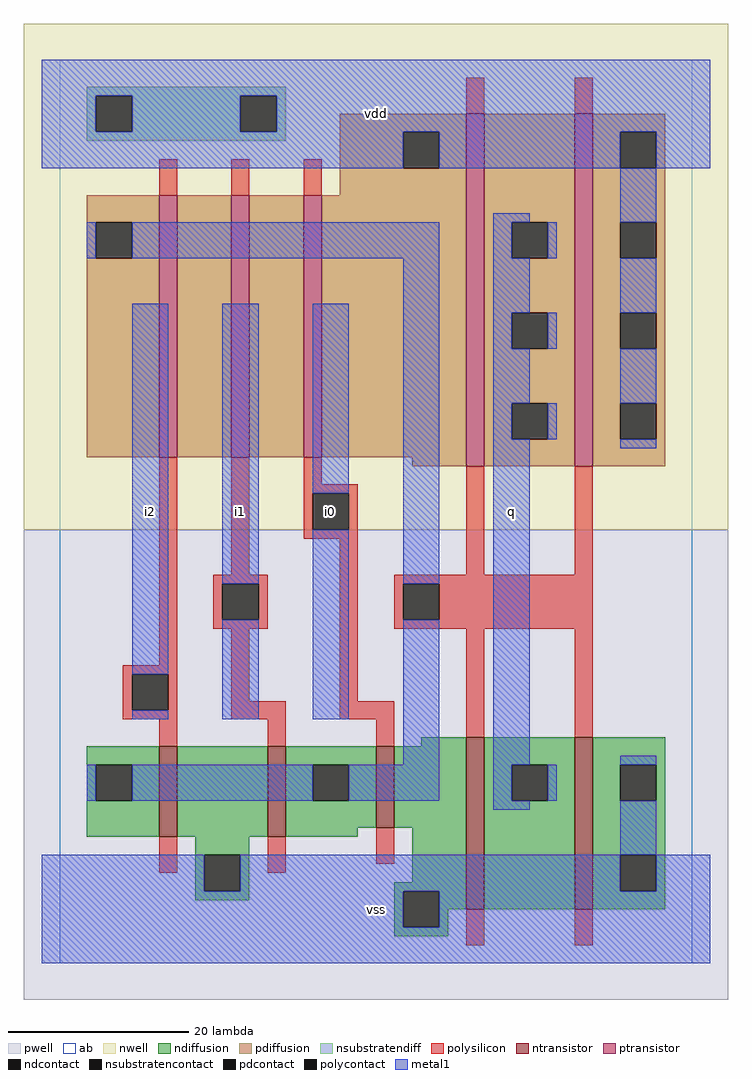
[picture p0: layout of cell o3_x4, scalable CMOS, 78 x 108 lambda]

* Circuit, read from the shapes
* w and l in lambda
.subckt o3_x4 i0 i1 i2 q vdd vss
M1 vss i2 n1 VSUBS nfet w=10 l=2
M2 n1 i1 vss VSUBS nfet w=10 l=2
M3 vss i0 n1 VSUBS nfet w=9 l=2
M4 q n1 vss VSUBS nfet w=19 l=2 m=2
M5 n2 i2 n1 vdd pfet w=29 l=2
M6 n3 i1 n2 vdd pfet w=29 l=2
M7 vdd i0 n3 vdd pfet w=29 l=2
M8 q n1 vdd vdd pfet w=39 l=2 m=2
.ends

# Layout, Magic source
magic
tech scmos
<< ab >>
rect 0 0 70 100
<< pwell >>
rect -4 -4 74 48
<< nwell >>
rect -4 48 74 104
<< polysilicon >>
rect 45 94 47 98
rect 57 94 59 98
rect 11 85 13 89
rect 19 85 21 89
rect 27 85 29 89
rect 11 33 13 56
rect 19 43 21 56
rect 27 53 29 56
rect 27 52 33 53
rect 27 48 28 52
rect 32 48 33 52
rect 27 47 33 48
rect 17 42 23 43
rect 17 38 18 42
rect 22 38 23 42
rect 17 37 23 38
rect 7 32 13 33
rect 7 28 8 32
rect 12 28 13 32
rect 7 27 13 28
rect 19 29 21 37
rect 31 29 33 47
rect 45 43 47 55
rect 57 43 59 55
rect 37 42 59 43
rect 37 38 38 42
rect 42 38 59 42
rect 37 37 59 38
rect 19 27 25 29
rect 31 27 37 29
rect 11 24 13 27
rect 23 24 25 27
rect 35 24 37 27
rect 45 25 47 37
rect 57 25 59 37
rect 11 10 13 14
rect 23 10 25 14
rect 35 11 37 15
rect 45 2 47 6
rect 57 2 59 6
<< ndiffusion >>
rect 40 24 45 25
rect 3 22 11 24
rect 3 18 4 22
rect 8 18 11 22
rect 3 14 11 18
rect 13 14 23 24
rect 25 22 35 24
rect 25 18 28 22
rect 32 18 35 22
rect 25 15 35 18
rect 37 15 45 24
rect 25 14 33 15
rect 15 12 21 14
rect 15 8 16 12
rect 20 8 21 12
rect 39 9 45 15
rect 15 7 21 8
rect 37 8 45 9
rect 37 4 38 8
rect 42 6 45 8
rect 47 22 57 25
rect 47 18 50 22
rect 54 18 57 22
rect 47 6 57 18
rect 59 22 67 25
rect 59 18 62 22
rect 66 18 67 22
rect 59 12 67 18
rect 59 8 62 12
rect 66 8 67 12
rect 59 6 67 8
rect 42 4 43 6
rect 37 3 43 4
<< pdiffusion >>
rect 31 92 45 94
rect 31 88 38 92
rect 42 88 45 92
rect 31 85 45 88
rect 3 82 11 85
rect 3 78 4 82
rect 8 78 11 82
rect 3 56 11 78
rect 13 56 19 85
rect 21 56 27 85
rect 29 56 45 85
rect 39 55 45 56
rect 47 82 57 94
rect 47 78 50 82
rect 54 78 57 82
rect 47 72 57 78
rect 47 68 50 72
rect 54 68 57 72
rect 47 62 57 68
rect 47 58 50 62
rect 54 58 57 62
rect 47 55 57 58
rect 59 92 67 94
rect 59 88 62 92
rect 66 88 67 92
rect 59 82 67 88
rect 59 78 62 82
rect 66 78 67 82
rect 59 72 67 78
rect 59 68 62 72
rect 66 68 67 72
rect 59 62 67 68
rect 59 58 62 62
rect 66 58 67 62
rect 59 55 67 58
<< metal1 >>
rect -2 96 72 100
rect -2 92 4 96
rect 8 92 20 96
rect 24 92 72 96
rect -2 88 38 92
rect 42 88 62 92
rect 66 88 72 92
rect 48 82 52 83
rect 62 82 66 88
rect 3 78 4 82
rect 8 78 42 82
rect 8 32 12 73
rect 8 27 12 28
rect 18 42 22 73
rect 18 27 22 38
rect 28 52 32 73
rect 28 27 32 48
rect 38 42 42 78
rect 38 22 42 38
rect 3 18 4 22
rect 8 18 28 22
rect 32 18 42 22
rect 48 78 50 82
rect 54 78 55 82
rect 48 72 52 78
rect 62 72 66 78
rect 48 68 50 72
rect 54 68 55 72
rect 48 62 52 68
rect 62 62 66 68
rect 48 58 50 62
rect 54 58 55 62
rect 48 22 52 58
rect 62 57 66 58
rect 62 22 66 23
rect 48 18 50 22
rect 54 18 55 22
rect 48 17 52 18
rect 62 12 66 18
rect -2 8 16 12
rect 20 8 62 12
rect 66 8 72 12
rect -2 4 38 8
rect 42 4 72 8
rect -2 0 72 4
<< ntransistor >>
rect 11 14 13 24
rect 23 14 25 24
rect 35 15 37 24
rect 45 6 47 25
rect 57 6 59 25
<< ptransistor >>
rect 11 56 13 85
rect 19 56 21 85
rect 27 56 29 85
rect 45 55 47 94
rect 57 55 59 94
<< polycontact >>
rect 28 48 32 52
rect 18 38 22 42
rect 8 28 12 32
rect 38 38 42 42
<< ndcontact >>
rect 4 18 8 22
rect 28 18 32 22
rect 16 8 20 12
rect 38 4 42 8
rect 50 18 54 22
rect 62 18 66 22
rect 62 8 66 12
<< pdcontact >>
rect 38 88 42 92
rect 4 78 8 82
rect 50 78 54 82
rect 50 68 54 72
rect 50 58 54 62
rect 62 88 66 92
rect 62 78 66 82
rect 62 68 66 72
rect 62 58 66 62
<< nsubstratencontact >>
rect 4 92 8 96
rect 20 92 24 96
<< nsubstratendiff >>
rect 3 96 25 97
rect 3 92 4 96
rect 8 92 20 96
rect 24 92 25 96
rect 3 91 25 92
<< labels >>
rlabel metal1 10 50 10 50 6 i2
rlabel polycontact 30 50 30 50 6 i0
rlabel metal1 20 50 20 50 6 i1
rlabel metal1 35 6 35 6 6 vss
rlabel metal1 50 50 50 50 6 q
rlabel metal1 35 94 35 94 6 vdd
<< end >>
